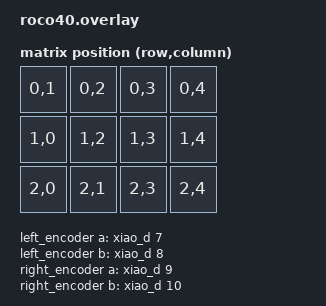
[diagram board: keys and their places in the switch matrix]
#include <dt-bindings/zmk/matrix_transform.h>

/ {
    chosen {
        zmk,kscan = &kscan0;
        zmk,matrix_transform = &default_transform;
    };

    kscan0: kscan {
        compatible = "zmk,kscan-gpio-round-robin";
        label = "KSCAN";

        interrupt-gpios = <&xiao_d 10 (GPIO_ACTIVE_HIGH|GPIO_PULL_DOWN) >;
        gpios
            = <&xiao_d 0 (GPIO_ACTIVE_HIGH|GPIO_PULL_DOWN)>
            , <&xiao_d 1 (GPIO_ACTIVE_HIGH|GPIO_PULL_DOWN)>
            , <&xiao_d 2 (GPIO_ACTIVE_HIGH|GPIO_PULL_DOWN)>
            , <&xiao_d 3 (GPIO_ACTIVE_HIGH|GPIO_PULL_DOWN)>
            , <&xiao_d 4 (GPIO_ACTIVE_HIGH|GPIO_PULL_DOWN)>
            , <&xiao_d 5 (GPIO_ACTIVE_HIGH|GPIO_PULL_DOWN)>
            , <&xiao_d 6 (GPIO_ACTIVE_HIGH|GPIO_PULL_DOWN)>
            ;
    };

    default_transform: keymap_transform {
        compatible = "zmk,matrix-transform";
        rows = <3>;
        columns = <5>;
        //  Q  W  E  R
        //   A  S  D  F
        //    Z  X  C  V
        map = <
            RC(0,1) RC(0,2) RC(0,3) RC(0,4)
              RC(1,0) RC(1,2) RC(1,3) RC(1,4)
                RC(2,0) RC(2,1) RC(2,3) RC(2,4)
        >;
    };
    
    left_encoder: encoder_left {
        compatible = "alps,ec11";
        label = "LEFT_ENCODER";
        a-gpios = <&xiao_d 7 (GPIO_ACTIVE_HIGH | GPIO_PULL_UP)>;
        b-gpios = <&xiao_d 8 (GPIO_ACTIVE_HIGH | GPIO_PULL_UP)>;
        resolution = <4>;
        status = "okay";
    };
    right_encoder: encoder_right {
        compatible = "alps,ec11";
        label = "RIGHT_ENCODER";
        a-gpios = <&xiao_d 9 (GPIO_ACTIVE_HIGH | GPIO_PULL_UP)>;
        b-gpios = <&xiao_d 10 (GPIO_ACTIVE_HIGH | GPIO_PULL_UP)>;
        resolution = <4>;
        status = "okay";
    };

	sensors {
		compatible = "zmk,keymap-sensors";
		sensors = <&left_encoder &right_encoder>;
	};
};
